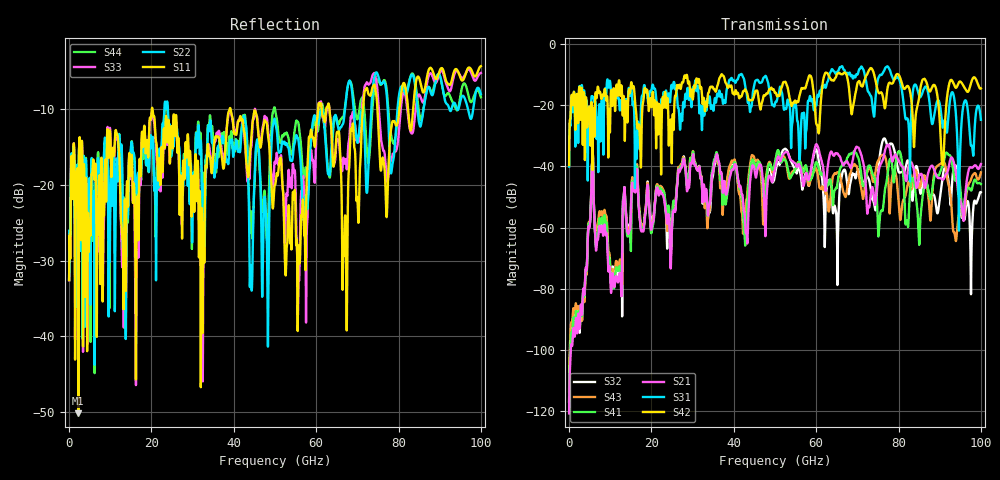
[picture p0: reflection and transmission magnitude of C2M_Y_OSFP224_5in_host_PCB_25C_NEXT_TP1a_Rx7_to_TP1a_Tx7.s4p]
# GHz S RI R 45
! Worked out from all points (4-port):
!   4000 points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, 25 MHz to 100 GHz, reference 45 ohm
!   strongest paths, dB at 25 MHz, 25.02 GHz, 50.02 GHz, 75.03 GHz, 100 GHz:
!     S42: -39.6, -29.2, -16.0, -15.6, -14.6
!     S31: -40.1, -13.8, -19.5, -11.5, -24.8
!     S21: -120.7, -59.1, -40.8, -42.8, -39.3
!     S41: -116.8, -57.2, -38.7, -60.9, -45.8
!     S43: -113.5, -56.9, -38.7, -38.3, -42.0
!     S32: -116.9, -59.3, -42.6, -42.4, -48.5
!   lowest |S11| = -50.1 dB at 2.25 GHz (marker M1), VSWR 1.01, Z = 45.3 + j0.0761 ohm
!   |S11| at or under -10 dB: start of sweep to 20.12 GHz; 20.26 GHz to 39.02 GHz (18.76 GHz wide, 63.3 % of centre); 39.21 GHz to 60.48 GHz (21.27 GHz wide, 42.7 % of centre)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
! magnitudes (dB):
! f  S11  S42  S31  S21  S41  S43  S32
! 25 MHz  -32.6  -39.6  -40.1  -120.7  -116.8  -113.5  -116.9
! 2.25 GHz  -50.1  -24.1  -28.7  -88.3  -87.3  -85.7  -87.8
! 5.625 GHz  -18.7  -24.5  -17.5  -39.3  -39.3  -39.1  -39.2
! 10.62 GHz  -15.2  -18.0  -15.7  -75.0  -75.9  -73.8  -72.7
! 27.62 GHz  -19.4  -12.7  -20.8  -38.5  -37.7  -37.4  -38.2
! 90.67 GHz  -4.7  -39.4  -27.1  -44.4  -40.1  -38.6  -43.8
! 100 GHz  -4.4  -14.6  -24.8  -39.3  -45.8  -42.0  -48.5
